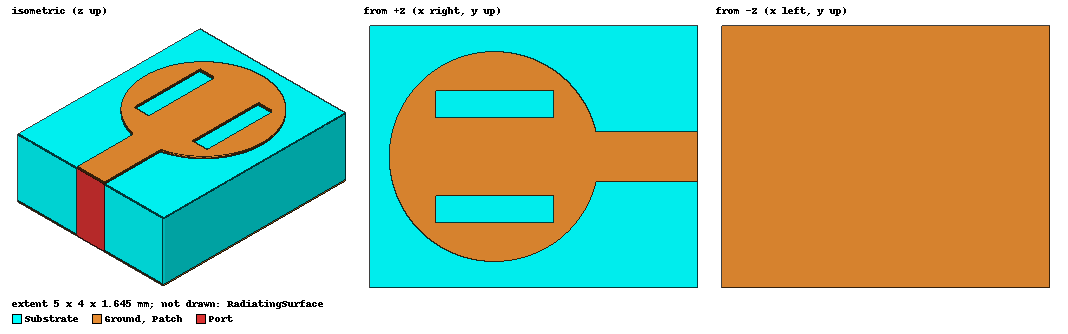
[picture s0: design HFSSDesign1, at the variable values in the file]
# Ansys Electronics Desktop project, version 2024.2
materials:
  vacuum: permittivity=1
  copper: permeability=0.999991 conductivity=58000000
  Rogers RT/duroid 5880 (tm): permittivity=2.2 dielectric_loss_tangent=0.0009

design HFSSDesign1 (HFSS, HFSS Terminal Network, model units mm)
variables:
  Lg = 5mm
  W = 4mm
  Wg = 4
  Hp = 0.035mm
  Hs = 1.575mm
  a = 0.3mm
  Rp = 1.6mm
  Wf = 0.75mm
  Lf = 1.65mm
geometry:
  Ground [copper] = box(corner=(0mm, 0mm, 0mm), size=(Lg, W, Hp))
  Substrate [Rogers RT/duroid 5880 (tm)] = box(corner=(0mm, 0mm, Hp), size=(Lg, W, Hs))
  Patch [copper] = cylinder(axis=Z, base_centre=(a+Rp, W/2, Hp+Hs), radius=Rp, height=Hp)
  Feedline = box(corner=(a/2+2*Rp, W/2-Wf/2, Hp+Hs), size=(Lf, Wf, Hp))
  Patch.unite(Feedline)
  Port = rectangle(corner=(Lg, W/2-Wf/2, Hp+Hs), y_size=Wf, z_size=-(Hp+Hs))
  RadiatingSurface [vacuum] = region(absolute_offset=3.5714286mm on all sides)
  Box1 = box(corner=(1mm, 1mm, 0mm), size=(1.8mm, 0.4mm, 1.8mm))
  Box2 = box(corner=(1mm, 1mm, 0mm), size=(1.8mm, 0.4mm, 1.8mm))
  Box2.move(0mm, 1.6mm, 0mm)
  Patch.subtract(Box1)
  Patch.subtract(Box2)
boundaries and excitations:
  Open1: Radiation Objects=RadiatingSurface
  Port_T1: Terminal port=1 Edges=Patch.edge(at (5, 2, 1.61)) TerminalResistance=50ohm
  1: Lumped Port Faces=Port.face LumpedPortType=Terminal Impedance=50ohm
  reference conductors: Ground
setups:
  Setup1: HfssDriven Frequency=28GHz MaxDeltaS=0.02 MaximumPasses=20 MinimumPasses=1 MinimumConvergedPasses=1 PercentRefinement=30 BasisOrder=1 PortAccuracy=2 DrivenSolverType="Direct Solver"
    sweep Sweep: 13GHz to 50GHz, 401 points; Type=Fast SaveFields
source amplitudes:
  1:1: 1V 0deg
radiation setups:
  3D: Infinite Sphere Theta=0deg..180deg step 2deg Phi=-180deg..180deg step 2deg
  Elevation: Infinite Sphere Theta=-180deg..180deg step 1deg Phi=0deg..90deg step 90deg
  Azimuth: Infinite Sphere Theta=90deg..90deg step 0deg Phi=-180deg..180deg step 1deg
  Infinite Sphere1: Infinite Sphere Theta=0deg..360deg step 3deg Phi=0deg..90deg step 90deg
